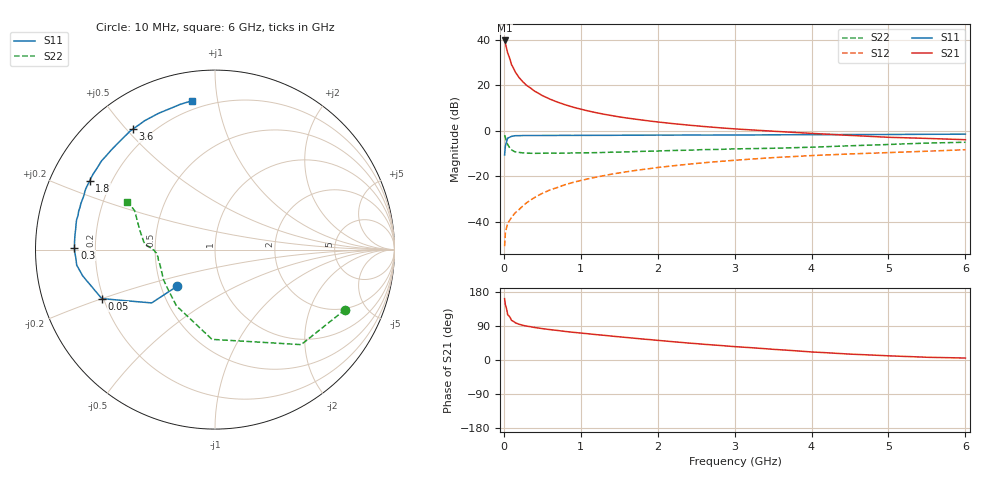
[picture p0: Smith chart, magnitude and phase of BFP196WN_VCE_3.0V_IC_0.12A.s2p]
! Infineon Technologies  Discrete & RF Semiconductors
! BFP196WN
! VCE =  3.0 V,  IC = 0.12 A
! Common Emitter S-Parameters:  Jan 2017
# GHz  S  MA  R  50
!  f  S11  S21  S12  S22
! GHz  MAG  ANG  MAG  ANG  MAG  ANG  MAG  ANG
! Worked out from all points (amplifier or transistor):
!   77 points, 10 MHz to 6 GHz, reference 50 ohm
!   highest |S21| = 39.6 dB at 10 MHz (marker M1)
!   |S21| within 3 dB of that: start of sweep to 32.25 MHz
!   unconditionally stable (mu >= 1): 348.8 MHz to 2.781 GHz
!   at 130 MHz: K = 0.79, MSG = 32.0 dB, |S12| = -36.8 dB
!   at 2.2 GHz: K = 1.02, MAG = 8.4 dB, |S12| = -15.4 dB
!   at 6 GHz: K = 0.93, MSG = 2.2 dB, |S12| = -8.4 dB
!   S11 on the Smith chart (normalised r, x): 10 MHz: 0.61, -0.27; 50 MHz: 0.19, -0.20; 300 MHz: 0.12, +0.01; 1.8 GHz: 0.12, +0.25; 3.6 GHz: 0.13, +0.52; 6 GHz: 0.15, +0.85
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0.01  0.2917 -135.9  95.92 161.8  0.0029 71.6  0.798 -24.8
0.02  0.4612 -139.9  82.25 145.5  0.0057 67.7  0.7148 -47.8
0.05  0.6873 -156.6  50.9 119.4  0.0091 52.5  0.5004 -91.9
0.1  0.7517 -168.8  28.14 104.5  0.0123 55.1  0.3801 -124.4
0.15  0.7755 -173.6  19.28 98.1  0.0158 59.8  0.3417 -140.6
0.2  0.7769 -176.7  14.56 94.2  0.0186 64.4  0.3323 -149.7
0.25  0.7817 -178.9  11.7 91.4  0.0225 66.2  0.3248 -154.8
0.3  0.7834 179.2  9.779 89.3  0.0263 69.0  0.3204 -159.4
0.4  0.7838 176.3  7.371 85.7  0.0339 72.1  0.3179 -164.2
0.5  0.7844 174.0  5.898 82.8  0.0419 72.8  0.3194 -167.7
0.6  0.7846 171.7  4.932 80.2  0.0499 73.2  0.321 -170.3
0.7  0.7866 169.9  4.223 77.9  0.0568 73.9  0.3195 -172.0
0.8  0.7887 167.9  3.697 75.3  0.0653 73.5  0.3209 -173.1
1.1  0.7883 162.6  2.703 69.1  0.0878 72.1  0.3269 -176.5
1.4  0.7902 157.6  2.149 63.1  0.1107 70.0  0.3366 -178.6
1.8  0.7964 151.3  1.71 55.4  0.14 67.0  0.3517 179.2
2.1  0.7986 146.7  1.49 50.1  0.162 64.6  0.3622 178.1
3.1  0.8029 131.7  1.069 34.0  0.2299 55.3  0.4005 173.4
3.6  0.8119 124.4  0.952 26.9  0.261 50.8  0.4149 169.4
4.1  0.8181 117.4  0.854 20.2  0.2882 46.1  0.4395 164.0
5.1  0.8261 106.6  0.707 10.3  0.3345 38.0  0.5042 153.8
6  0.839 98.8  0.633 5.2  0.3818 31.9  0.5563 151.5
